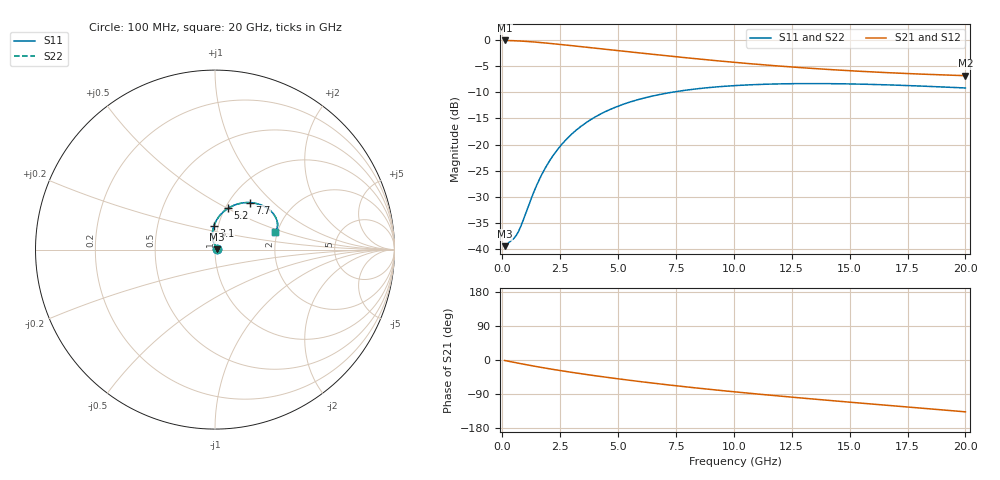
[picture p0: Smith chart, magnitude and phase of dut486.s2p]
! Touchstone file exported from HFSS 2024.1.0
!  File:  C:/UserFiles/LocalFiles/RDL_TSV_Batchsim/temp_RDL_TSV_486_1779733328.aedt
!  Generated:  02:37:19 AM May 26, 2026
!  Design:  RDL_TSV
!  Project:  temp_RDL_TSV_486_1779733328
!  Setup:  Setup1
!  Solution:  Sweep
! Variables:
!  dtsv = 8.52um
!  hbump = 3um
!  htsv = 59.37um
!  ldown = 410.51um
!  lrdl = 170.59um
!  p = 40
!  p1 = 53.84um
!  rhole = 10um
!  subl = 1913.89um
!  t = 450um
!  tdown = 4.16um
!  trdl = 3.17um
!  viad = 10um
!  wdown = 23.44um
!  wrdl = 15.03um
!  xbump = 18um
# GHz S MA R 50.000000
! Terminal data exported
! Port[1] = TM1_1_T1
! Port[2] = TM1_4_T1
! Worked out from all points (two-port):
!   200 points, 100 MHz to 20 GHz, reference 50 ohm
!   highest |S21| = -0.09 dB at 100 MHz (marker M1); lowest = -6.8 dB at 20 GHz (marker M2)
!   |S21| within 3 dB of the highest: start of sweep to 7.254 GHz
!   lowest |S11| = -39.4 dB at 100 MHz (marker M3), VSWR 1.02, Z = 51.1 + j0.21 ohm
!   |S11| at or under -10 dB: start of sweep to 7.335 GHz
!   |S22| runs from -39.4 to -8.4 dB; largest |S21 - S12| = 1e-14
!   S11 on the Smith chart (normalised r, x): 100 MHz: 1.02, +0.00; 3.1 GHz: 0.95, +0.26; 5.2 GHz: 1.03, +0.50; 7.7 GHz: 1.24, +0.73; 20 GHz: 1.93, +0.44
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0.1  0.01066 11.1  0.9892 -1.3  0.9892 -1.3  0.01066 11.1
! Gamma 0 0 0 0
! Port Impedance 50 0 50 0
0.5  0.01266 46.8  0.9835 -6.1  0.9835 -6.1  0.01266 46.8
0.7  0.01474 65.5  0.9789 -8.5  0.9789 -8.5  0.01474 65.5
0.8  0.0165 74.0  0.9762 -9.7  0.9762 -9.7  0.0165 74.0
1.3  0.03249 97.8  0.9594 -15.4  0.9594 -15.4  0.03247 97.7
1.5  0.04141 100.8  0.9514 -17.6  0.9514 -17.6  0.04139 100.8
1.7  0.0513 102.0  0.9428 -19.8  0.9428 -19.8  0.05126 102.0
2  0.06742 101.8  0.9294 -22.9  0.9294 -22.9  0.06737 101.7
2.5  0.09629 98.5  0.906 -27.9  0.906 -27.9  0.0962 98.5
3.1  0.1318 92.8  0.8775 -33.5  0.8775 -33.5  0.1317 92.8
3.5  0.155 88.8  0.8587 -37.1  0.8587 -37.1  0.1549 88.7
4.3  0.1985 80.7  0.822 -44.0  0.822 -44.0  0.1984 80.7
5.2  0.2415 72.4  0.7824 -51.2  0.7824 -51.2  0.2412 72.4
6  0.2738 65.7  0.749 -57.3  0.749 -57.3  0.2735 65.7
6.8  0.3009 59.7  0.7174 -63.1  0.7174 -63.1  0.3006 59.7
7.7  0.3255 53.6  0.6842 -69.3  0.6842 -69.3  0.3251 53.6
8.9  0.3501 46.6  0.6441 -77.1  0.6441 -77.1  0.3496 46.6
10.1  0.3666 40.6  0.6088 -84.4  0.6088 -84.4  0.3662 40.6
11.7  0.379 33.9  0.5687 -93.6  0.5687 -93.6  0.3785 33.8
13.4  0.3828 28.1  0.5341 -102.9  0.5341 -102.9  0.3822 28.1
16.7  0.3716 20.4  0.4859 -120.0  0.4859 -120.0  0.371 20.3
20  0.3473 16.8  0.4557 -136.8  0.4557 -136.8  0.3467 16.8
